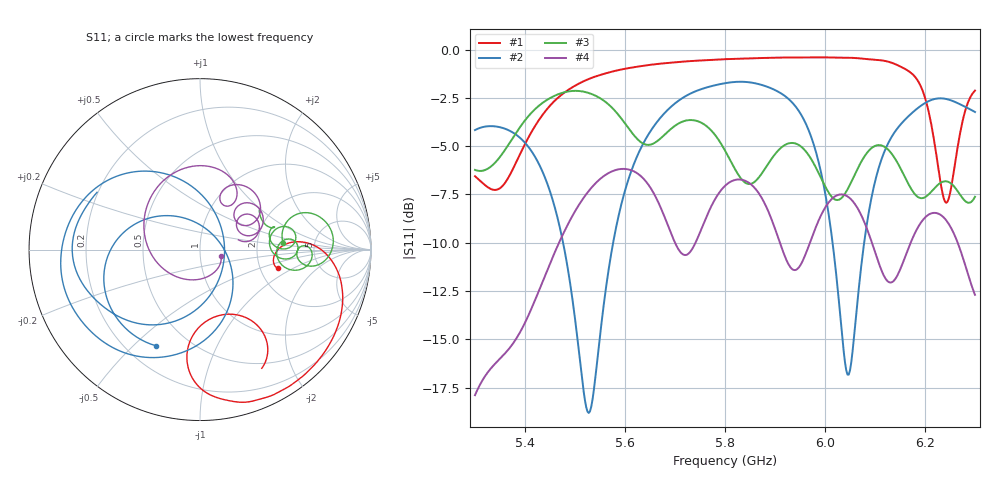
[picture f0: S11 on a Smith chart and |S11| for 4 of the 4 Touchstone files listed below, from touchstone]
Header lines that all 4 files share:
! Created with skrf 1.8.0 (http://scikit-rf.org).
# Hz S RI R 50.0
!freq ReS11 ImS11
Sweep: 5.3 GHz to 6.3 GHz
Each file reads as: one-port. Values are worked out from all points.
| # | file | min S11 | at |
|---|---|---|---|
| 1 | patch_line_14_1mm_19mm_14_1mm_1mm.s1p | -7.9 dB | 6.242 GHz |
| 2 | patch_line_14_1mm_19mm_14_1mm_3_9mm.s1p | -18.8 dB | 5.527 GHz |
| 3 | patch_line_14_1mm_25mm_14_1mm_1mm.s1p | -7.9 dB | 6.287 GHz |
| 4 | patch_line_14mm_25mm_14mm_1mm.s1p | -17.9 dB | 5.3 GHz |
